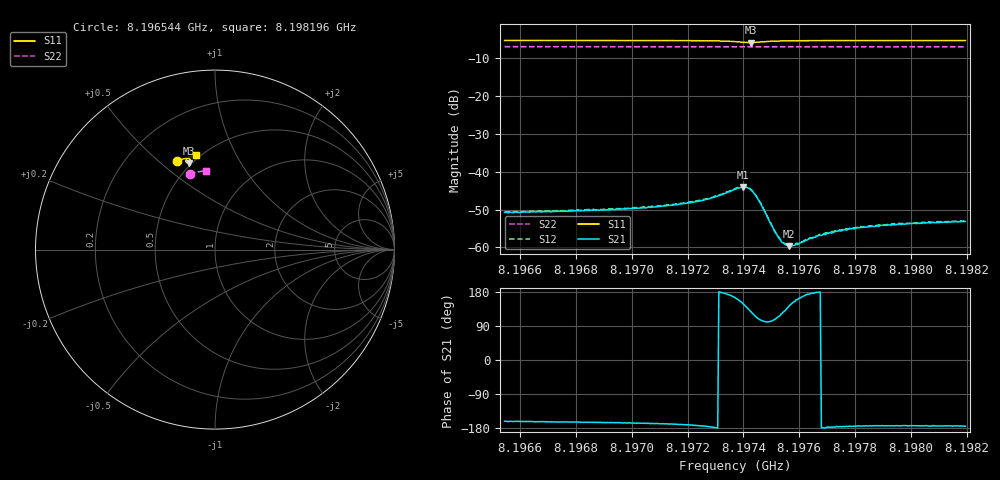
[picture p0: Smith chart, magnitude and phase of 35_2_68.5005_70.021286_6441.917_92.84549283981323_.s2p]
#  HZ  S  RI  R  50.00
! Rohde & Schwarz Vector Network Analyzer
! Rohde-Schwarz,ZNB20-2Port,1311601062101988,3.16
! Created: UTC 3/20/2024, 4:50:05 PM
! freq[Hz]  re:S11  im:S11  re:S21  im:S21  re:S12  im:S12  re:S22  im:S22
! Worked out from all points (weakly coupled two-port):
!   401 points, 8.196544 GHz to 8.198196 GHz, reference 50 ohm
!   highest |S21| = -44.08 dB at 8.197399 GHz (marker M1); lowest = -59.7 dB at 8.197564 GHz (marker M2)
!   lowest |S11| = -6.0 dB at 8.197428 GHz (marker M3), VSWR 3.03, Z = 24.1 + j31.1 ohm
!   |S11| at or under -10 dB: nowhere
!   |S22| runs from -7.1 to -7.0 dB; largest |S21 - S12| = 0.00034
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8.1965444e9  -0.211 0.4935  -0.00275 -0.000909  -0.00285 -0.0008  -0.1395 0.4222
8.196821e9  -0.1918 0.5007  -0.00294 -0.000819  -0.00303 -0.000704  -0.1246 0.4265
8.196982e9  -0.1799 0.5047  -0.00314 -0.000759  -0.0032 -0.000673  -0.1159 0.4287
8.1970976e9  -0.1707 0.5072  -0.0034 -0.000717  -0.00349 -0.000589  -0.1095 0.4301
8.1972462e9  -0.1564 0.5094  -0.0041 -0.000464  -0.00417 -0.0003  -0.1012 0.4319
8.1973122e9  -0.1472 0.508  -0.00481 6.11e-06  -0.00489 0.000207  -0.0975 0.4326
8.19737e9  -0.1379 0.4998  -0.00564 0.00152  -0.00566 0.0018  -0.0942 0.4329
8.1973989e9  -0.1374 0.4896  -0.00533 0.00327  -0.00529 0.00354  -0.0927 0.4328
8.1974154e9  -0.1417 0.4836  -0.00442 0.00422  -0.00431 0.0045  -0.092 0.433
8.1974278e9  -0.1473 0.4813  -0.00339 0.0046  -0.00322 0.00483  -0.0915 0.433
8.1974402e9  -0.1533 0.4817  -0.00233 0.0045  -0.00217 0.00468  -0.0908 0.4332
8.1974526e9  -0.158 0.4846  -0.00145 0.00408  -0.00131 0.0042  -0.0903 0.4334
8.1975104e9  -0.1611 0.5009  -0.000475 0.00159  -0.000395 0.00167  -0.0872 0.4345
8.197531e9  -0.159 0.5046  -0.000588 0.00115  -0.000547 0.00117  -0.0862 0.4346
8.1975475e9  -0.1573 0.5067  -0.0007 0.000861  -0.000714 0.000865  -0.0852 0.4348
8.197564e9  -0.1554 0.5084  -0.000829 0.000625  -0.000811 0.000658  -0.0841 0.4349
8.1975888e9  -0.1526 0.5103  -0.00103 0.000389  -0.00104 0.00045  -0.0828 0.4353
8.1976466e9  -0.1468 0.5135  -0.00131 7.43e-05  -0.00134 0.000183  -0.0795 0.4357
8.1976879e9  -0.1431 0.5151  -0.0015 -1.64e-05  -0.00151 5.12e-05  -0.0771 0.4362
8.1977745e9  -0.1356 0.5176  -0.00173 -0.000128  -0.00175 -6.75e-05  -0.0724 0.4368
8.1979231e9  -0.124 0.5208  -0.00197 -0.000217  -0.00202 -0.000133  -0.0639 0.4378
8.1981956e9  -0.1039 0.525  -0.00219 -0.000205  -0.00224 -0.000108  -0.0486 0.4393
